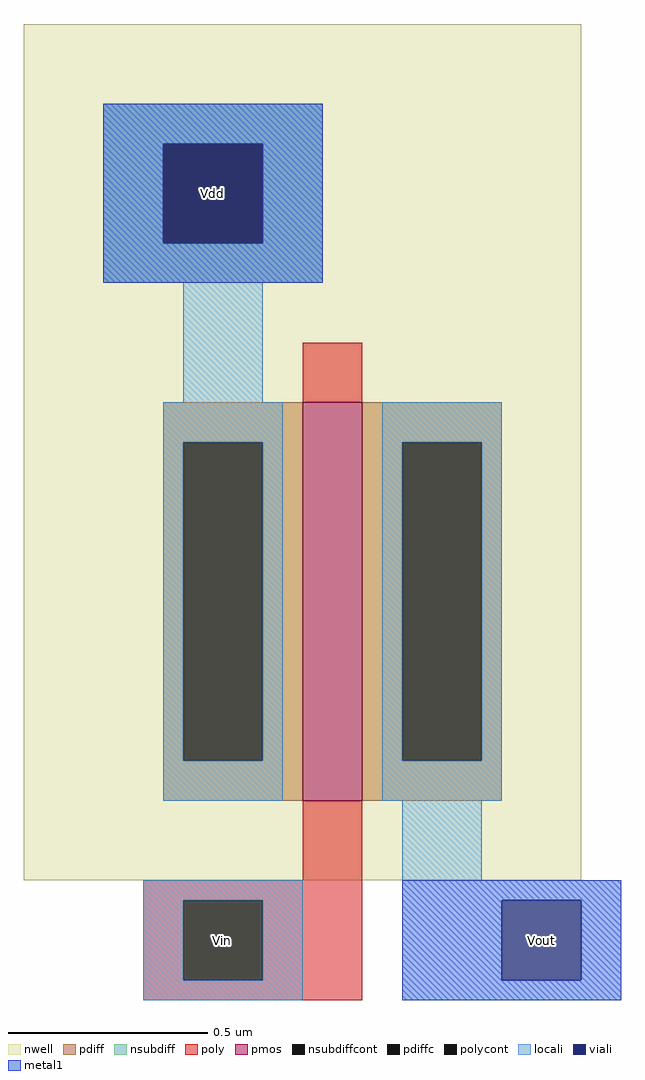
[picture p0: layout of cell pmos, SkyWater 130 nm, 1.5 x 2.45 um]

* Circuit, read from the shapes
.subckt pmos Vdd Vin Vout
XM1 Vout Vin Vdd Vdd sky130_fd_pr__pfet_01v8 w=1 l=0.15
.ends

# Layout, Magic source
magic
tech sky130A
<< nwell >>
rect -15 -25 125 190
<< pmos >>
rect 55 -5 70 95
<< pdiff >>
rect 20 85 55 95
rect 20 5 25 85
rect 45 5 55 85
rect 20 -5 55 5
rect 70 85 105 95
rect 70 5 80 85
rect 100 5 105 85
rect 70 -5 105 5
<< pdiffc >>
rect 25 5 45 85
rect 80 5 100 85
<< nsubdiff >>
rect 5 160 60 170
rect 5 135 20 160
rect 45 135 60 160
rect 5 125 60 135
<< nsubdiffcont >>
rect 20 135 45 160
<< poly >>
rect 55 95 70 110
rect 55 -25 70 -5
rect 15 -30 70 -25
rect 15 -50 25 -30
rect 45 -50 70 -30
rect 15 -55 70 -50
<< polycont >>
rect 25 -50 45 -30
<< locali >>
rect 5 160 60 170
rect 5 135 20 160
rect 45 135 60 160
rect 5 125 60 135
rect 25 95 45 125
rect 20 85 50 95
rect 20 5 25 85
rect 45 5 50 85
rect 20 -5 50 5
rect 75 85 105 95
rect 75 5 80 85
rect 100 5 105 85
rect 75 -5 105 5
rect 80 -25 100 -5
rect 15 -30 55 -25
rect 15 -50 25 -30
rect 45 -50 55 -30
rect 15 -55 55 -50
rect 80 -30 135 -25
rect 80 -50 105 -30
rect 125 -50 135 -30
rect 80 -55 135 -50
<< viali >>
rect 20 135 45 160
rect 105 -50 125 -30
<< metal1 >>
rect 5 160 60 170
rect 5 135 20 160
rect 45 135 60 160
rect 5 125 60 135
rect 80 -30 135 -25
rect 80 -50 105 -30
rect 125 -50 135 -30
rect 80 -55 135 -50
<< labels >>
rlabel nwell 20 135 45 160 1 Vdd
rlabel viali 105 -50 125 -30 1 Vout
rlabel polycont 25 -50 45 -30 1 Vin
<< end >>
